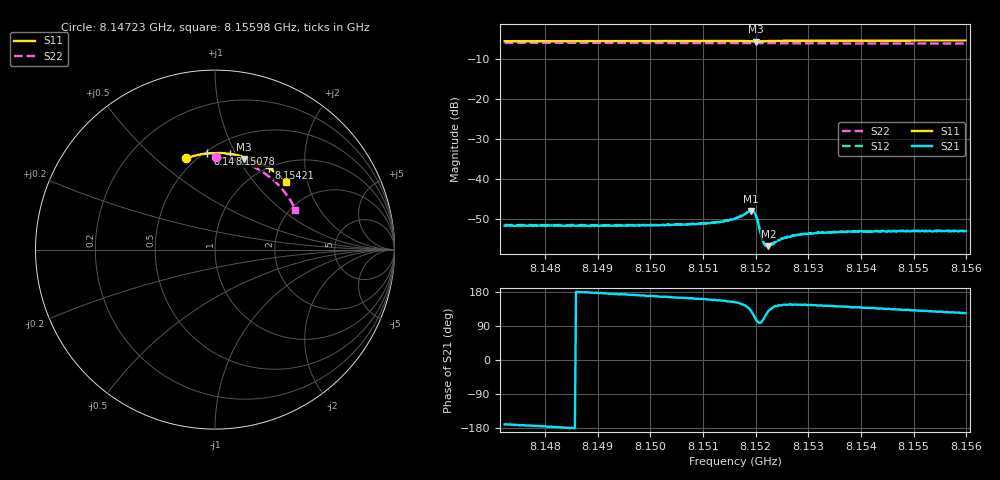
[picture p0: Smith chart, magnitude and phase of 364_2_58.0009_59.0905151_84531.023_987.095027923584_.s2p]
#  HZ  S  RI  R  50.00
! Rohde & Schwarz Vector Network Analyzer
! Rohde-Schwarz,ZNB20-2Port,1311601062101988,3.16
! Created: UTC 3/21/2024, 1:06:38 AM
! freq[Hz]  re:S11  im:S11  re:S21  im:S21  re:S12  im:S12  re:S22  im:S22
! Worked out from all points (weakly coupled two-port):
!   401 points, 8.14723 GHz to 8.15598 GHz, reference 50 ohm
!   highest |S21| = -47.92 dB at 8.15191 GHz (marker M1); lowest = -56.8 dB at 8.15224 GHz (marker M2)
!   lowest |S11| = -5.5 dB at 8.152 GHz (marker M3), VSWR 3.25, Z = 37.4 + j52.6 ohm
!   |S11| at or under -10 dB: nowhere
!   |S22| runs from -6.0 to -5.8 dB; largest |S21 - S12| = 0.00013
!   S11 on the Smith chart (normalised r, x): 8.14723 GHz: 0.44, +0.63; 8.14901 GHz: 0.52, +0.78; 8.15078 GHz: 0.63, +0.95; 8.15421 GHz: 1.01, +1.31; 8.15598 GHz: 1.38, +1.49
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8.147234e9  -0.1623 0.5089  -0.00259 -0.000454  -0.00263 -0.000447  0.00472 0.5132
8.148699e9  -0.063 0.533  -0.00261 4.52e-05  -0.00268 6.99e-05  0.0995 0.5017
8.149006e9  -0.042 0.5357  -0.00261 0.000162  -0.00265 0.000162  0.1186 0.4971
8.150165e9  0.0388 0.5379  -0.00258 0.000583  -0.00265 0.00062  0.1896 0.4729
8.150777e9  0.0815 0.5339  -0.00263 0.000788  -0.0026 0.000888  0.225 0.4561
8.15128e9  0.1166 0.5281  -0.00269 0.00111  -0.0027 0.00113  0.253 0.4403
8.151608e9  0.1399 0.5222  -0.00283 0.0015  -0.00285 0.00151  0.2708 0.429
8.151914e9  0.1607 0.5094  -0.00253 0.00312  -0.00251 0.0032  0.2866 0.4176
8.151958e9  0.1611 0.5064  -0.00193 0.00347  -0.00188 0.00349  0.2888 0.4159
8.152002e9  0.1602 0.505  -0.0011 0.00339  -0.00104 0.00341  0.2909 0.4144
8.152045e9  0.1596 0.5063  -0.000499 0.00283  -0.000449 0.00286  0.2929 0.4128
8.152111e9  0.1623 0.5094  -0.000353 0.0019  -0.000312 0.00192  0.2962 0.4105
8.152155e9  0.1657 0.5106  -0.000521 0.00149  -0.000496 0.0015  0.2986 0.4088
8.152198e9  0.1695 0.511  -0.000729 0.00126  -0.000698 0.00128  0.3008 0.4072
8.152242e9  0.173 0.511  -0.000931 0.00111  -0.000905 0.00114  0.303 0.4055
8.152439e9  0.1881 0.5078  -0.00139 0.000993  -0.0014 0.00107  0.3128 0.3976
8.15257e9  0.1974 0.5051  -0.00154 0.00106  -0.00154 0.00105  0.3191 0.3923
8.152811e9  0.2137 0.4992  -0.00166 0.00113  -0.00166 0.00116  0.3307 0.3821
8.153073e9  0.2308 0.4919  -0.0017 0.00119  -0.00171 0.00125  0.3426 0.3709
8.15421e9  0.3005 0.4549  -0.00162 0.0015  -0.00164 0.00157  0.3902 0.3175
8.154538e9  0.3195 0.4425  -0.00159 0.0016  -0.00155 0.00161  0.4023 0.301
8.155982e9  0.3955 0.3788  -0.00124 0.00188  -0.00123 0.00188  0.4472 0.2232
